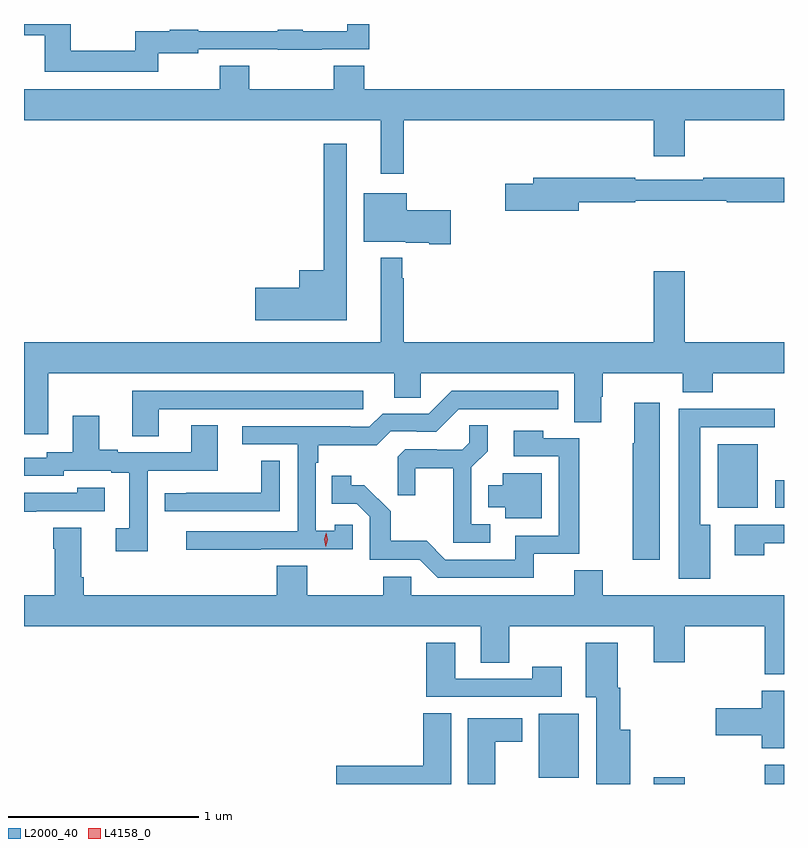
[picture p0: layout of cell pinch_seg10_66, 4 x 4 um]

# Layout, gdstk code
import gdstk
lib = gdstk.Library(unit=1e-6, precision=1e-09)
def R(c, l, rs):  # rectangles x0, y0, x1, y1
    for r in rs: c.add(gdstk.rectangle(r[:2], r[2:], *l))
def P(c, l, *ps):  # polygons
    for p in ps: c.add(gdstk.Polygon(p, *l))
L2000_40 = (2000, 40)
L4158_0 = (4158, 0)

pinch_seg10_66 = lib.new_cell('pinch_seg10_66')
R(pinch_seg10_66, L2000_40, [(836.336,1311.475,836.5,1311.511), (836.92,1311.475,837.022,1311.577), (835.73,1311.509,835.942,1311.844), (836.672,1312.928,836.884,1313.263), (836.975,1312.928,837.022,1313.074)])
P(pinch_seg10_66, L2000_40, [(833.728,1315.322),(833.94,1315.322),(833.94,1315.341),(834.357,1315.341),(834.357,1315.34),(834.589,1315.34),(834.589,1315.341),(834.839,1315.341),(834.839,1315.475),(834.723,1315.475),(834.723,1315.438),(834.489,1315.438),(834.489,1315.444),(834.357,1315.444),(834.357,1315.437),(833.94,1315.437),(833.94,1315.444),(833.79,1315.444),(833.79,1315.438),(833.607,1315.438),(833.607,1315.333),(833.268,1315.333),(833.268,1315.475),(833.022,1315.475),(833.022,1315.415),(833.131,1315.415),(833.131,1315.224),(833.728,1315.224)],
  [(835.021,1314.968),(836.336,1314.968),(836.336,1314.78),(836.5,1314.78),(836.5,1314.968),(837.022,1314.968),(837.022,1315.132),(834.812,1315.132),(834.812,1315.256),(834.652,1315.256),(834.652,1315.132),(834.207,1315.132),(834.207,1315.256),(834.052,1315.256),(834.052,1315.132),(833.022,1315.132),(833.022,1314.968),(834.899,1314.968),(834.899,1314.687),(835.021,1314.687)],
  [(834.721,1314.844),(834.6,1314.844),(834.6,1314.178),(834.47,1314.178),(834.47,1314.086),(834.24,1314.086),(834.24,1313.915),(834.721,1313.915)],
  [(835.942,1314.538),(836.238,1314.538),(836.238,1314.546),(836.721,1314.546),(836.721,1314.538),(837.022,1314.538),(837.022,1314.667),(836.596,1314.667),(836.596,1314.654),(836.24,1314.654),(836.24,1314.667),(835.703,1314.667),(835.703,1314.633),(835.554,1314.633),(835.554,1314.491),(835.942,1314.491)],
  [(835.267,1314.495),(835.036,1314.495),(835.036,1314.583),(834.809,1314.583),(834.809,1314.329),(835.032,1314.329),(835.032,1314.323),(835.154,1314.323),(835.154,1314.317),(835.267,1314.317)],
  [(833.149,1313.636),(834.971,1313.636),(834.971,1313.509),(835.11,1313.509),(835.11,1313.636),(835.919,1313.636),(835.919,1313.38),(836.059,1313.38),(836.059,1313.514),(836.067,1313.514),(836.067,1313.636),(836.488,1313.636),(836.488,1313.537),(836.648,1313.537),(836.648,1313.636),(837.022,1313.636),(837.022,1313.8),(836.5,1313.8),(836.5,1314.175),(836.336,1314.175),(836.336,1313.8),(835.021,1313.8),(835.021,1314.137),(835.013,1314.137),(835.013,1314.244),(834.899,1314.244),(834.899,1313.8),(833.022,1313.8),(833.022,1313.316),(833.149,1313.316)],
  [(833.731,1313.448),(834.808,1313.448),(834.808,1313.544),(833.591,1313.544),(833.591,1313.305),(833.731,1313.305)],
  [(834.269,1312.71),(834.753,1312.71),(834.753,1312.839),(834.657,1312.839),(834.657,1312.807),(834.558,1312.807),(834.558,1313.165),(834.571,1313.165),(834.571,1313.258),(834.878,1313.258),(834.951,1313.331),(835.09,1313.331),(835.09,1313.328),(835.191,1313.328),(835.311,1313.448),(835.834,1313.448),(835.834,1313.544),(835.272,1313.544),(835.152,1313.424),(834.909,1313.424),(834.84,1313.355),(834.74,1313.355),(834.74,1313.358),(834.171,1313.358),(834.171,1313.262),(834.462,1313.262),(834.462,1312.806),(833.877,1312.806),(833.877,1312.708),(834.269,1312.708)],
  [(836.368,1313.482),(836.234,1313.482),(836.234,1313.269),(836.227,1313.269),(836.227,1312.656),(836.368,1312.656)],
  [(836.635,1312.84),(836.581,1312.84),(836.581,1313.352),(836.974,1313.352),(836.974,1313.45),(836.468,1313.45),(836.468,1312.554),(836.635,1312.554)],
  [(833.673,1313.124),(834.043,1313.124),(834.043,1313.363),(833.903,1313.363),(833.903,1313.22),(833.515,1313.22),(833.515,1313.233),(833.419,1313.233),(833.419,1313.413),(833.279,1313.413),(833.279,1313.22),(833.142,1313.22),(833.142,1313.193),(833.022,1313.193),(833.022,1313.097),(833.232,1313.097),(833.232,1313.124),(833.48,1313.124),(833.48,1313.112),(833.576,1313.112),(833.576,1312.821),(833.505,1312.821),(833.505,1312.701),(833.673,1312.701)],
  [(835.477,1312.842),(835.377,1312.842),(835.377,1313.141),(835.463,1313.227),(835.463,1313.363),(835.365,1313.363),(835.365,1313.272),(835.328,1313.235),(835.194,1313.235),(835.194,1313.238),(835.029,1313.238),(834.988,1313.197),(834.988,1312.995),(835.082,1312.995),(835.082,1313.138),(835.28,1313.138),(835.28,1312.746),(835.477,1312.746)],
  [(835.706,1312.686),(835.945,1312.686),(835.945,1313.295),(835.755,1313.295),(835.755,1313.335),(835.599,1313.335),(835.599,1313.199),(835.836,1313.199),(835.836,1312.782),(835.607,1312.782),(835.607,1312.656),(835.239,1312.656),(835.141,1312.755),(834.952,1312.755),(834.952,1312.91),(834.814,1313.048),(834.744,1313.048),(834.744,1313.098),(834.643,1313.098),(834.643,1312.95),(834.774,1312.95),(834.843,1312.881),(834.843,1312.656),(835.104,1312.656),(835.2,1312.56),(835.706,1312.56)],
  [(834.369,1313.177),(834.271,1313.177),(834.271,1313.007),(833.875,1313.007),(833.875,1313.006),(833.763,1313.006),(833.763,1312.911),(834.369,1312.911)],
  [(835.747,1313.11),(835.541,1313.11),(835.541,1313.047),(835.466,1313.047),(835.466,1312.931),(835.556,1312.931),(835.556,1312.874),(835.747,1312.874)],
  [(833.087,1312.911),(833.446,1312.911),(833.446,1313.035),(833.301,1313.035),(833.301,1313.007),(833.022,1313.007),(833.022,1312.909),(833.087,1312.909)],
  [(836.919,1312.743),(837.022,1312.743),(837.022,1312.839),(836.763,1312.839),(836.763,1312.68),(836.919,1312.68)],
  [(837.022,1312.468),(836.067,1312.468),(836.067,1312.601),(835.919,1312.601),(835.919,1312.468),(835.059,1312.468),(835.059,1312.566),(834.913,1312.566),(834.913,1312.468),(834.513,1312.468),(834.513,1312.625),(834.353,1312.625),(834.353,1312.468),(833.336,1312.468),(833.336,1312.564),(833.323,1312.564),(833.323,1312.825),(833.176,1312.825),(833.176,1312.712),(833.183,1312.712),(833.183,1312.468),(833.022,1312.468),(833.022,1312.304),(835.427,1312.304),(835.427,1312.114),(835.575,1312.114),(835.575,1312.304),(836.336,1312.304),(836.336,1312.116),(836.5,1312.116),(836.5,1312.304),(836.92,1312.304),(836.92,1312.052),(837.022,1312.052)],
  [(835.852,1312.093),(835.696,1312.093),(835.696,1312.029),(835.291,1312.029),(835.291,1312.219),(835.139,1312.219),(835.139,1311.933),(835.852,1311.933)],
  [(836.212,1311.76),(836.159,1311.76),(836.159,1311.981),(836.146,1311.981),(836.146,1312.219),(835.979,1312.219),(835.979,1311.932),(836.033,1311.932),(836.033,1311.475),(836.212,1311.475)],
  [(837.022,1311.967),(836.906,1311.967),(836.906,1311.873),(836.664,1311.873),(836.664,1311.731),(836.906,1311.731),(836.906,1311.662),(837.022,1311.662)],
  [(835.27,1311.848),(835.124,1311.848),(835.124,1311.572),(834.666,1311.572),(834.666,1311.475),(835.27,1311.475)],
  [(835.501,1311.698),(835.645,1311.698),(835.645,1311.82),(835.358,1311.82),(835.358,1311.475),(835.501,1311.475)])
P(pinch_seg10_66, L4158_0, [(834.61,1312.725),(834.61,1312.725),(834.601,1312.762),(834.612,1312.797),(834.612,1312.797),(834.612,1312.797),(834.621,1312.761),(834.61,1312.725)])

lib.write_gds('pinch_seg10_66.gds')
